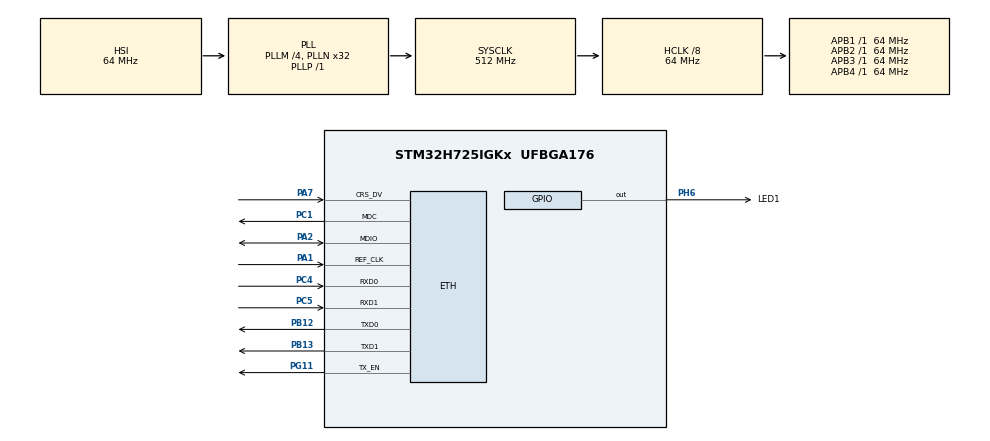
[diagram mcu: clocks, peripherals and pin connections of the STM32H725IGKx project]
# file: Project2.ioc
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CORTEX_M7.AccessPermission-Cortex_Memory_Protection_Unit_Region1_Settings=MPU_REGION_FULL_ACCESS
CORTEX_M7.AccessPermission-Cortex_Memory_Protection_Unit_Region2_Settings=MPU_REGION_FULL_ACCESS
CORTEX_M7.AccessPermission_S-Cortex_Memory_Protection_Unit_Region1_Settings_S=MPU_REGION_FULL_ACCESS
CORTEX_M7.AccessPermission_S-Cortex_Memory_Protection_Unit_Region2_Settings_S=MPU_REGION_FULL_ACCESS
CORTEX_M7.BaseAddress-Cortex_Memory_Protection_Unit_Region1_Settings=0x30001000
CORTEX_M7.BaseAddress-Cortex_Memory_Protection_Unit_Region2_Settings=0x30000000
CORTEX_M7.BaseAddress_S-Cortex_Memory_Protection_Unit_Region1_Settings_S=0x30001000
CORTEX_M7.BaseAddress_S-Cortex_Memory_Protection_Unit_Region2_Settings_S=0x30000000
CORTEX_M7.CPU_DCache=Enabled
CORTEX_M7.CPU_ICache=Enabled
CORTEX_M7.DisableExec-Cortex_Memory_Protection_Unit_Region0_Settings=MPU_INSTRUCTION_ACCESS_DISABLE
CORTEX_M7.DisableExec-Cortex_Memory_Protection_Unit_Region1_Settings=MPU_INSTRUCTION_ACCESS_DISABLE
CORTEX_M7.DisableExec-Cortex_Memory_Protection_Unit_Region2_Settings=MPU_INSTRUCTION_ACCESS_DISABLE
CORTEX_M7.DisableExec_S-Cortex_Memory_Protection_Unit_Region1_Settings_S=MPU_INSTRUCTION_ACCESS_DISABLE
CORTEX_M7.DisableExec_S-Cortex_Memory_Protection_Unit_Region2_Settings_S=MPU_INSTRUCTION_ACCESS_DISABLE
CORTEX_M7.Enable-Cortex_Memory_Protection_Unit_Region0_Settings=MPU_REGION_ENABLE
CORTEX_M7.Enable-Cortex_Memory_Protection_Unit_Region1_Settings=MPU_REGION_ENABLE
CORTEX_M7.Enable-Cortex_Memory_Protection_Unit_Region2_Settings=MPU_REGION_ENABLE
CORTEX_M7.Enable_S-Cortex_Memory_Protection_Unit_Region1_Settings_S=MPU_REGION_ENABLE
CORTEX_M7.Enable_S-Cortex_Memory_Protection_Unit_Region2_Settings_S=MPU_REGION_ENABLE
CORTEX_M7.IsBufferable-Cortex_Memory_Protection_Unit_Region2_Settings=MPU_ACCESS_BUFFERABLE
CORTEX_M7.IsBufferable_S-Cortex_Memory_Protection_Unit_Region2_Settings_S=MPU_ACCESS_BUFFERABLE
CORTEX_M7.IsShareable-Cortex_Memory_Protection_Unit_Region0_Settings=MPU_ACCESS_SHAREABLE
CORTEX_M7.IsShareable-Cortex_Memory_Protection_Unit_Region2_Settings=MPU_ACCESS_SHAREABLE
CORTEX_M7.IsShareable_S-Cortex_Memory_Protection_Unit_Region2_Settings_S=MPU_ACCESS_SHAREABLE
CORTEX_M7.MPU_Control=MPU_PRIVILEGED_DEFAULT
CORTEX_M7.Size-Cortex_Memory_Protection_Unit_Region0_Settings=MPU_REGION_SIZE_4GB
CORTEX_M7.Size-Cortex_Memory_Protection_Unit_Region1_Settings=MPU_REGION_SIZE_32KB
CORTEX_M7.Size-Cortex_Memory_Protection_Unit_Region2_Settings=MPU_REGION_SIZE_4KB
CORTEX_M7.Size_S-Cortex_Memory_Protection_Unit_Region1_Settings_S=MPU_REGION_SIZE_16KB
CORTEX_M7.Size_S-Cortex_Memory_Protection_Unit_Region2_Settings_S=MPU_REGION_SIZE_2KB
CORTEX_M7.SubRegionDisable-Cortex_Memory_Protection_Unit_Region0_Settings=0x87
CORTEX_M7.TypeExtField-Cortex_Memory_Protection_Unit_Region1_Settings=MPU_TEX_LEVEL1
CORTEX_M7.TypeExtField_S-Cortex_Memory_Protection_Unit_Region1_Settings_S=MPU_TEX_LEVEL1
CORTEX_M7.default_mode_Activation=0
ETH.MediaInterface=HAL_ETH_RMII_MODE
ETH.TxDescAddress=0x30000100
FREERTOS.Tasks01=defaultTask,24,512,StartDefaultTask,Default,NULL,Dynamic,NULL,NULL
FREERTOS.configMINIMAL_STACK_SIZE=512
FREERTOS.configUSE_COUNTING_SEMAPHORES=1
FREERTOS.configUSE_NEWLIB_REENTRANT=1
LWIP.BSP.number=1
LWIP.CMSIS_VERSION-Enabled=1
LWIP.IP_ADDRESS=192.168.001.001
LWIP.LWIP_DHCP=0
LWIP.LWIP_RAM_HEAP_POINTER=0x30001000
LWIP.LWIP_TCP=0
LWIP.LWIP_UDP=1
LWIP.MEMP_NUM_UDP_PCB=1
LWIP.MEM_SIZE=15000
LWIP.NETMASK_ADDRESS=255.255.255.000
LWIP.Version=v2.1.2_Cube
LWIP0.BSP.STBoard=false
LWIP0.BSP.api=BSP_COMPONENT_DRIVER
LWIP0.BSP.component=LAN8742
LWIP0.BSP.instance=LAN8742
LWIP0.BSP.name=Driver_PHY
LWIP0.BSP.semaphore=S_LAN8742
LWIP0.BSP.solution=LAN8742
Mcu.Family=STM32H7
Mcu.Name=STM32H725IGKx
Mcu.Package=UFBGA176
NVIC.ETH_IRQn=true\:5\:0\:false\:false\:true\:true\:true\:true\:true
NVIC.PriorityGroup=NVIC_PRIORITYGROUP_4
NVIC.TIM6_DAC_IRQn=true\:15\:0\:false\:false\:true\:false\:false\:true\:true
NVIC.TimeBase=TIM6_DAC_IRQn
NVIC.TimeBaseIP=TIM6
PA1.GPIO_Speed=GPIO_SPEED_FREQ_VERY_HIGH
PA1.Mode=RMII
PA1.Signal=ETH_REF_CLK
PA2.GPIO_Speed=GPIO_SPEED_FREQ_VERY_HIGH
PA2.Mode=RMII
PA2.Signal=ETH_MDIO
PA7.GPIO_Speed=GPIO_SPEED_FREQ_VERY_HIGH
PA7.Mode=RMII
PA7.Signal=ETH_CRS_DV
PB12.GPIO_Speed=GPIO_SPEED_FREQ_VERY_HIGH
PB12.Mode=RMII
PB12.Signal=ETH_TXD0
PB13.GPIO_Speed=GPIO_SPEED_FREQ_VERY_HIGH
PB13.Mode=RMII
PB13.Signal=ETH_TXD1
PC1.GPIO_Speed=GPIO_SPEED_FREQ_VERY_HIGH
PC1.Mode=RMII
PC1.Signal=ETH_MDC
PC14-OSC32_IN.Mode=LSE-External-Oscillator
PC14-OSC32_IN.Signal=RCC_OSC32_IN
PC15-OSC32_OUT.Mode=LSE-External-Oscillator
PC15-OSC32_OUT.Signal=RCC_OSC32_OUT
PC4.GPIO_Speed=GPIO_SPEED_FREQ_VERY_HIGH
PC4.Mode=RMII
PC4.Signal=ETH_RXD0
PC5.GPIO_Speed=GPIO_SPEED_FREQ_VERY_HIGH
PC5.Mode=RMII
PC5.Signal=ETH_RXD1
PG11.GPIO_Speed=GPIO_SPEED_FREQ_VERY_HIGH
PG11.Mode=RMII
PG11.Signal=ETH_TX_EN
PH6.GPIO_Label=LED1
PH6.GPIO_Speed=GPIO_SPEED_FREQ_MEDIUM
PH6.Signal=GPIO_Output
ProjectManager.HeapSize=0x200
ProjectManager.StackSize=0x400
ProjectManager.TargetToolchain=STM32CubeIDE
RCC.ADCFreq_Value=129000000
RCC.APB1Freq_Value=64000000
RCC.APB2Freq_Value=64000000
RCC.APB3Freq_Value=64000000
RCC.APB4Freq_Value=64000000
RCC.CortexFreq_Value=512000000
RCC.DIVM1=4
RCC.DIVN1=32
RCC.DIVP1=1
RCC.HCLKFreq_Value=64000000
RCC.HPRE=RCC_HCLK_DIV8
RCC.SYSCLKFreq_VALUE=512000000
RCC.SYSCLKSource=RCC_SYSCLKSOURCE_PLLCLK
RCC.USBFreq_Value=256000000
VP_FREERTOS_VS_CMSIS_V2.Mode=CMSIS_V2
VP_LWIP_VS_Enabled.Mode=Enabled
VP_SYS_VS_tim6.Mode=TIM6
board=custom

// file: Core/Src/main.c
/* USER CODE BEGIN Header */
/**
  ******************************************************************************
  * @file           : main.c
  * @brief          : Main program body
  ******************************************************************************
  * @attention
  *
  * Copyright (c) 2023 STMicroelectronics.
  * All rights reserved.
  *
  * This software is licensed under terms that can be found in the LICENSE file
  * in the root directory of this software component.
  * If no LICENSE file comes with this software, it is provided AS-IS.
  *
  ******************************************************************************
  */
/* USER CODE END Header */
#include "main.h"
#include "cmsis_os.h"
#include "lwip.h"

/* USER CODE BEGIN Includes */
#include "lwip/pbuf.h"
#include "lwip/udp.h"
#include "lwip/tcp.h"
#include "api.h"
#include "string.h"
#include "stdio.h"
#include "stdlib.h"
#include "unistd.h"

struct netconn *conn, *newconn;
struct netbuf *buf;

static ip_addr_t *addr;
static unsigned short  port;
char msg[100];
char smsg[200];

err_t err, recv_err;
struct pbuf *txBuf;

/* USER CODE END Includes */

/* Definitions for defaultTask */
osThreadId_t defaultTaskHandle;
const osThreadAttr_t defaultTask_attributes = {
  .name = "defaultTask",
  .stack_size = 512 * 4,
  .priority = (osPriority_t) osPriorityNormal,
};

void SystemClock_Config(void);
static void MPU_Config(void);
static void MX_GPIO_Init(void);
void StartDefaultTask(void *argument);

/* USER CODE BEGIN 0 */

static void udp_thread(void *arg)
{
		// netconn_connect(struct netconn *conn, const ip_addr_t *addr, u16_t port);

	    conn = netconn_new(NETCONN_UDP);

		if(conn !=NULL)
		{
			err = netconn_bind(conn,IP_ADDR_ANY,80);  // any IP Address

			/*ip_addr_t myIPADDR;
			IP_ADDR4(&myIPADDR, 192,168,1,1);
			err = netconn_bind(conn,IP_ADDR4(&myIPADDR, 192,168,1,1),80);*/

			if(err == ERR_OK)
			{
				while(1)
				{
					recv_err = netconn_recv(conn, &buf);

					if(recv_err == ERR_OK)
					{
						addr = netbuf_fromaddr(buf);
						port = netbuf_fromport(buf);
						strcpy (msg, buf->p->payload);
						int len =  sprintf(smsg, "MK send: %s   \n ", (char *) buf->p->payload);

						txBuf = pbuf_alloc(PBUF_TRANSPORT, len, PBUF_RAM);

						// pbuf_take will be used to copy the modified message into the pbuf
						pbuf_take(txBuf, smsg, len);

						// refer the nebuf->pbuf to our pbuf
						buf->p = txBuf;

						netconn_connect(conn, addr, port);
						netconn_send(conn,buf);

						buf->addr.addr=0;
						pbuf_free(txBuf);
						netbuf_delete(buf);

					}

				}

			}
			else
			{
				netconn_delete(conn);

			}
		}
}

void udpserver_init(void)
{
  sys_thread_new("udp_thread", udp_thread, NULL, DEFAULT_THREAD_STACKSIZE,osPriorityNormal);
  //sys_thread_new("udp_thread", udp_thread, NULL, 1024,osPriorityNormal);
  // udp_thread(defaultTaskHandle);

}

// TCP RTOS

static ip_addr_t *addr;
static unsigned short port;
char msg[100];
char smsg[200];

/**** Send RESPONSE every time the client sends some data ******/
static void tcp_thread(void *arg)
{
	err_t err, accept_err, recv_error;

	/* Create a new connection identifier. */
	conn = netconn_new(NETCONN_TCP);

	if (conn!=NULL)
	{
		/* Bind connection to the port number 7. */
		err = netconn_bind(conn, IP_ADDR_ANY, 7);

		if (err == ERR_OK)
		{
			/* Tell connection to go into listening mode. */
			netconn_listen(conn);

			while (1)
			{
				/* Grab new connection. */
				accept_err = netconn_accept(conn, &newconn);

				/* Process the new connection. */
				if (accept_err == ERR_OK)
				{

					/* receive the data from the client */
					while (netconn_recv(newconn, &buf) == ERR_OK)
					{
						/* Extrct the address and port in case they are required */
						addr = netbuf_fromaddr(buf);  // get the address of the client
						port = netbuf_fromport(buf);  // get the Port of the client

						/* If there is some data remaining to be sent, the following process will continue */
						do
						{

							strncpy (msg, buf->p->payload, buf->p->len);   // get the message from the client

							// Or modify the message received, so that we can send it back to the client
							int len = sprintf (smsg, "\"%s\" was sent by the Server\n", msg);

							netconn_write(newconn, smsg, len, NETCONN_COPY);  // send the message back to the client
							memset (msg, '\0', 100);  // clear the buffer
						}
						while (netbuf_next(buf) >0);

						netbuf_delete(buf);
					}

					/* Close connection and discard connection identifier. */
					netconn_close(newconn);
					netconn_delete(newconn);
				}
			}
		}
		else
		{
			netconn_delete(conn);
		}
	}
}

void tcpserver_init(void)
{
  sys_thread_new("tcp_thread", tcp_thread, NULL, DEFAULT_THREAD_STACKSIZE,osPriorityNormal);
}

/* USER CODE END 0 */

int main(void)
{

  /* MPU Configuration--------------------------------------------------------*/
  MPU_Config();
/* Enable the CPU Cache */

  /* Enable I-Cache---------------------------------------------------------*/
  SCB_EnableICache();

  /* Enable D-Cache---------------------------------------------------------*/
  SCB_EnableDCache();

  /* MCU Configuration--------------------------------------------------------*/

  /* Reset of all peripherals, Initializes the Flash interface and the Systick. */
  HAL_Init();

  /* Configure the system clock */
  SystemClock_Config();

  /* Initialize all configured peripherals */
  MX_GPIO_Init();

  /* Init scheduler */
  osKernelInitialize();

  /* Create the thread(s) */
  /* creation of defaultTask */
  defaultTaskHandle = osThreadNew(StartDefaultTask, NULL, &defaultTask_attributes);

  /* USER CODE BEGIN RTOS_THREADS */
  //sys_thread_new("TCPPP", TCPThread, NULL, DEFAULT_THREAD_STACKSIZE, osPriorityHigh);

  /* USER CODE END RTOS_THREADS */

  /* Start scheduler */
  osKernelStart();

  /* We should never get here as control is now taken by the scheduler */
  /* Infinite loop */
  while (1)
  {

  }
}

void SystemClock_Config(void)
{
  RCC_OscInitTypeDef RCC_OscInitStruct = {0};
  RCC_ClkInitTypeDef RCC_ClkInitStruct = {0};

  /** Supply configuration update enable
  */
  HAL_PWREx_ConfigSupply(PWR_DIRECT_SMPS_SUPPLY);

  /** Configure the main internal regulator output voltage
  */
  __HAL_PWR_VOLTAGESCALING_CONFIG(PWR_REGULATOR_VOLTAGE_SCALE0);

  while(!__HAL_PWR_GET_FLAG(PWR_FLAG_VOSRDY)) {}

  /** Initializes the RCC Oscillators according to the specified parameters
  * in the RCC_OscInitTypeDef structure.
  */
  RCC_OscInitStruct.OscillatorType = RCC_OSCILLATORTYPE_HSI;
  RCC_OscInitStruct.HSIState = RCC_HSI_DIV1;
  RCC_OscInitStruct.HSICalibrationValue = 64;
  RCC_OscInitStruct.PLL.PLLState = RCC_PLL_ON;
  RCC_OscInitStruct.PLL.PLLSource = RCC_PLLSOURCE_HSI;
  RCC_OscInitStruct.PLL.PLLM = 4;
  RCC_OscInitStruct.PLL.PLLN = 32;
  RCC_OscInitStruct.PLL.PLLP = 1;
  RCC_OscInitStruct.PLL.PLLQ = 2;
  RCC_OscInitStruct.PLL.PLLR = 2;
  RCC_OscInitStruct.PLL.PLLRGE = RCC_PLL1VCIRANGE_3;
  RCC_OscInitStruct.PLL.PLLVCOSEL = RCC_PLL1VCOWIDE;
  RCC_OscInitStruct.PLL.PLLFRACN = 0;
  if (HAL_RCC_OscConfig(&RCC_OscInitStruct) != HAL_OK)
  {
    Error_Handler();
  }

  /** Initializes the CPU, AHB and APB buses clocks
  */
  RCC_ClkInitStruct.ClockType = RCC_CLOCKTYPE_HCLK|RCC_CLOCKTYPE_SYSCLK
                              |RCC_CLOCKTYPE_PCLK1|RCC_CLOCKTYPE_PCLK2
                              |RCC_CLOCKTYPE_D3PCLK1|RCC_CLOCKTYPE_D1PCLK1;
  RCC_ClkInitStruct.SYSCLKSource = RCC_SYSCLKSOURCE_PLLCLK;
  RCC_ClkInitStruct.SYSCLKDivider = RCC_SYSCLK_DIV1;
  RCC_ClkInitStruct.AHBCLKDivider = RCC_HCLK_DIV8;
  RCC_ClkInitStruct.APB3CLKDivider = RCC_APB3_DIV1;
  RCC_ClkInitStruct.APB1CLKDivider = RCC_APB1_DIV1;
  RCC_ClkInitStruct.APB2CLKDivider = RCC_APB2_DIV1;
  RCC_ClkInitStruct.APB4CLKDivider = RCC_APB4_DIV1;

  if (HAL_RCC_ClockConfig(&RCC_ClkInitStruct, FLASH_LATENCY_0) != HAL_OK)
  {
    Error_Handler();
  }
}

static void MX_GPIO_Init(void)
{
  GPIO_InitTypeDef GPIO_InitStruct = {0};

  /* GPIO Ports Clock Enable */
  __HAL_RCC_GPIOG_CLK_ENABLE();
  __HAL_RCC_GPIOC_CLK_ENABLE();
  __HAL_RCC_GPIOB_CLK_ENABLE();
  __HAL_RCC_GPIOA_CLK_ENABLE();
  __HAL_RCC_GPIOH_CLK_ENABLE();

  /*Configure GPIO pin Output Level */
  HAL_GPIO_WritePin(LED1_GPIO_Port, LED1_Pin, GPIO_PIN_RESET);

  /*Configure GPIO pin : LED1_Pin */
  GPIO_InitStruct.Pin = LED1_Pin;
  GPIO_InitStruct.Mode = GPIO_MODE_OUTPUT_PP;
  GPIO_InitStruct.Pull = GPIO_NOPULL;
  GPIO_InitStruct.Speed = GPIO_SPEED_FREQ_MEDIUM;
  HAL_GPIO_Init(LED1_GPIO_Port, &GPIO_InitStruct);

}

/* USER CODE BEGIN 4 */
void app_thread(void const * argument);
/* USER CODE END 4 */

void StartDefaultTask(void *argument)
{
  /* init code for LWIP */
  MX_LWIP_Init();
  /* USER CODE BEGIN 5 */

  udpserver_init();
   // tcpserver_init();

  /* Infinite loop */
  for(;;)
  {

		HAL_GPIO_TogglePin(LED1_GPIO_Port, LED1_Pin);
    osDelay(500);
  }

  /* USER CODE END 5 */
}

/* MPU Configuration */

void MPU_Config(void)
{
  MPU_Region_InitTypeDef MPU_InitStruct = {0};

  /* Disables the MPU */
  HAL_MPU_Disable();

  /** Initializes and configures the Region and the memory to be protected
  */
  MPU_InitStruct.Enable = MPU_REGION_ENABLE;
  MPU_InitStruct.Number = MPU_REGION_NUMBER0;
  MPU_InitStruct.BaseAddress = 0x0;
  MPU_InitStruct.Size = MPU_REGION_SIZE_4GB;
  MPU_InitStruct.SubRegionDisable = 0x87;
  MPU_InitStruct.TypeExtField = MPU_TEX_LEVEL0;
  MPU_InitStruct.AccessPermission = MPU_REGION_NO_ACCESS;
  MPU_InitStruct.DisableExec = MPU_INSTRUCTION_ACCESS_DISABLE;
  MPU_InitStruct.IsShareable = MPU_ACCESS_SHAREABLE;
  MPU_InitStruct.IsCacheable = MPU_ACCESS_NOT_CACHEABLE;
  MPU_InitStruct.IsBufferable = MPU_ACCESS_NOT_BUFFERABLE;

  HAL_MPU_ConfigRegion(&MPU_InitStruct);

  /** Initializes and configures the Region and the memory to be protected
  */
  MPU_InitStruct.Number = MPU_REGION_NUMBER1;
  MPU_InitStruct.BaseAddress = 0x30001000;
  MPU_InitStruct.Size = MPU_REGION_SIZE_32KB;
  MPU_InitStruct.SubRegionDisable = 0x0;
  MPU_InitStruct.TypeExtField = MPU_TEX_LEVEL1;
  MPU_InitStruct.AccessPermission = MPU_REGION_FULL_ACCESS;
  MPU_InitStruct.IsShareable = MPU_ACCESS_NOT_SHAREABLE;

  HAL_MPU_ConfigRegion(&MPU_InitStruct);

  /** Initializes and configures the Region and the memory to be protected
  */
  MPU_InitStruct.Number = MPU_REGION_NUMBER2;
  MPU_InitStruct.BaseAddress = 0x30000000;
  MPU_InitStruct.Size = MPU_REGION_SIZE_4KB;
  MPU_InitStruct.TypeExtField = MPU_TEX_LEVEL0;
  MPU_InitStruct.IsShareable = MPU_ACCESS_SHAREABLE;
  MPU_InitStruct.IsBufferable = MPU_ACCESS_BUFFERABLE;

  HAL_MPU_ConfigRegion(&MPU_InitStruct);
  /* Enables the MPU */
  HAL_MPU_Enable(MPU_PRIVILEGED_DEFAULT);

}

void HAL_TIM_PeriodElapsedCallback(TIM_HandleTypeDef *htim)
{
  if (htim->Instance == TIM6) {
    HAL_IncTick();
  }
}

void Error_Handler(void)
{
  __disable_irq();
  while (1)
  {
  }
}
